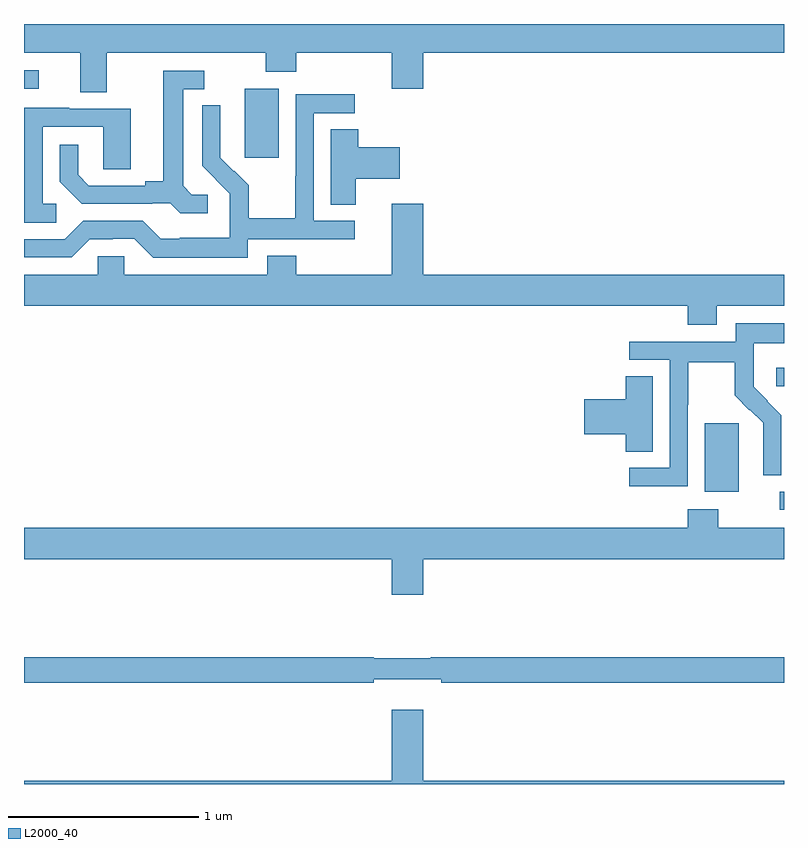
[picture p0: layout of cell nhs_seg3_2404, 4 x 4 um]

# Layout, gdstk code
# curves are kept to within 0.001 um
import gdstk
lib = gdstk.Library(unit=1e-6, precision=1e-09)
def R(c, l, rs):  # rectangles x0, y0, x1, y1
    for r in rs: c.add(gdstk.rectangle(r[:2], r[2:], *l))
def P(c, l, *ps):  # polygons
    for p in ps: c.add(gdstk.Polygon(p, *l))
L2000_40 = (2000, 40)

nhs_seg3_2404 = lib.new_cell('nhs_seg3_2404')
R(nhs_seg3_2404, L2000_40, [(238.977,699.843,239,699.939), (238.583,699.938,238.762,700.299), (238.959,700.494,239,700.591), (236.162,701.697,236.341,702.058), (235,702.06,235.078,702.156)])
P(nhs_seg3_2404, L2000_40, [(235.435,702.248),(236.272,702.248),(236.272,702.149),(236.432,702.149),(236.432,702.248),(236.936,702.248),(236.936,702.06),(237.1,702.06),(237.1,702.248),(239,702.248),(239,702.4),(235,702.4),(235,702.248),(235.295,702.248),(235.295,702.04),(235.435,702.04)],
  [(235.966,701.502),(235.884,701.502),(235.837,701.549),(235.837,702.057),(235.948,702.057),(235.948,702.153),(235.733,702.153),(235.733,701.573),(235.637,701.573),(235.637,701.55),(235.342,701.55),(235.285,701.607),(235.285,701.764),(235.188,701.764),(235.188,701.57),(235.304,701.454),(235.676,701.454),(235.676,701.457),(235.77,701.457),(235.822,701.405),(235.966,701.405)],
  [(236.178,701.268),(236.74,701.268),(236.74,701.364),(236.526,701.364),(236.526,701.931),(236.74,701.931),(236.74,702.03),(236.43,702.03),(236.43,701.6),(236.428,701.6),(236.428,701.377),(236.183,701.377),(236.183,701.551),(236.106,701.628),(236.103,701.625),(236.033,701.696),(236.034,701.972),(235.938,701.972),(235.938,701.654),(236.084,701.506),(236.084,701.409),(236.082,701.409),(236.082,701.275),(235.819,701.275),(235.819,701.271),(235.719,701.271),(235.626,701.364),(235.311,701.364),(235.215,701.268),(235,701.268),(235,701.172),(235.251,701.172),(235.347,701.268),(235.466,701.268),(235.466,701.271),(235.581,701.271),(235.681,701.171),(236.178,701.171)],
  [(235.171,701.454),(235.098,701.454),(235.098,701.859),(235.416,701.859),(235.416,701.635),(235.561,701.635),(235.561,701.955),(235.237,701.955),(235.237,701.959),(235,701.959),(235,701.769),(235.002,701.769),(235.002,701.353),(235.171,701.353)],
  [(236.746,701.585),(236.977,701.585),(236.977,701.751),(236.759,701.751),(236.759,701.846),(236.615,701.846),(236.615,701.449),(236.746,701.449)],
  [(238.645,700.916),(239,700.916),(239,701.08),(237.1,701.08),(237.1,701.455),(236.936,701.455),(236.936,701.08),(236.432,701.08),(236.432,701.179),(236.279,701.179),(236.279,701.08),(235.527,701.08),(235.527,701.178),(235.389,701.178),(235.389,701.08),(235,701.08),(235,700.916),(238.493,700.916),(238.493,700.817),(238.645,700.817)],
  [(238.494,700.396),(238.497,700.396),(238.497,700.62),(238.741,700.62),(238.741,700.445),(238.818,700.368),(238.821,700.371),(238.892,700.301),(238.892,700.178),(238.89,700.178),(238.89,700.024),(238.986,700.024),(238.986,700.342),(238.84,700.49),(238.84,700.587),(238.842,700.587),(238.842,700.721),(239,700.721),(239,700.825),(238.746,700.825),(238.746,700.728),(238.185,700.728),(238.185,700.632),(238.398,700.632),(238.398,700.065),(238.185,700.065),(238.185,699.967),(238.494,699.967)],
  [(238.309,700.547),(238.166,700.547),(238.166,700.424),(237.948,700.424),(237.948,700.241),(238.166,700.241),(238.166,700.15),(238.309,700.15)],
  [(237.1,699.584),(239,699.584),(239,699.748),(238.653,699.748),(238.653,699.847),(238.493,699.847),(238.493,699.748),(235,699.748),(235,699.584),(236.936,699.584),(236.936,699.396),(237.1,699.396)],
  [(236.84,698.951),(237.196,698.951),(237.196,698.932),(239,698.932),(239,699.068),(237.14,699.068),(237.14,699.061),(236.84,699.061),(236.84,699.068),(235,699.068),(235,698.932),(236.84,698.932)],
  [(239,698.416),(237.1,698.416),(237.1,698.791),(236.936,698.791),(236.936,698.416),(235,698.416),(235,698.4),(239,698.4)])

lib.write_gds('nhs_seg3_2404.gds')
